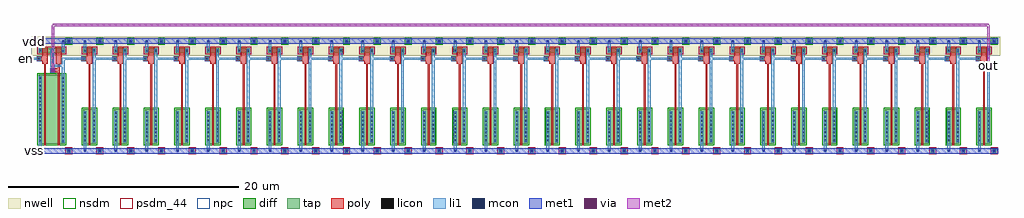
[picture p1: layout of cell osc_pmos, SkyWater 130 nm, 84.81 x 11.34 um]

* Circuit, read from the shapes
.subckt osc_pmos en out vdd vss
XM1 n1 en vss vss sky130_fd_pr__nfet_01v8 w=6 l=0.15
XM2 n2 out n1 vss sky130_fd_pr__nfet_01v8 w=6 l=0.15
XM3 n3 n2 vss vss sky130_fd_pr__nfet_01v8 w=3 l=0.15
XM4 n4 n3 vss vss sky130_fd_pr__nfet_01v8 w=3 l=0.15
XM5 n5 n4 vss vss sky130_fd_pr__nfet_01v8 w=3 l=0.15
XM6 n6 n5 vss vss sky130_fd_pr__nfet_01v8 w=3 l=0.15
XM7 n7 n6 vss vss sky130_fd_pr__nfet_01v8 w=3 l=0.15
XM8 n8 n7 vss vss sky130_fd_pr__nfet_01v8 w=3 l=0.15
XM9 n9 n8 vss vss sky130_fd_pr__nfet_01v8 w=3 l=0.15
XM10 n10 n9 vss vss sky130_fd_pr__nfet_01v8 w=3 l=0.15
XM11 n11 n10 vss vss sky130_fd_pr__nfet_01v8 w=3 l=0.15
XM12 n12 n11 vss vss sky130_fd_pr__nfet_01v8 w=3 l=0.15
XM13 n13 n12 vss vss sky130_fd_pr__nfet_01v8 w=3 l=0.15
XM14 n14 n13 vss vss sky130_fd_pr__nfet_01v8 w=3 l=0.15
XM15 n15 n14 vss vss sky130_fd_pr__nfet_01v8 w=3 l=0.15
XM16 n16 n15 vss vss sky130_fd_pr__nfet_01v8 w=3 l=0.15
XM17 n17 n16 vss vss sky130_fd_pr__nfet_01v8 w=3 l=0.15
XM18 n18 n17 vss vss sky130_fd_pr__nfet_01v8 w=3 l=0.15
XM19 n19 n18 vss vss sky130_fd_pr__nfet_01v8 w=3 l=0.15
XM20 n20 n19 vss vss sky130_fd_pr__nfet_01v8 w=3 l=0.15
XM21 n21 n20 vss vss sky130_fd_pr__nfet_01v8 w=3 l=0.15
XM22 n22 n21 vss vss sky130_fd_pr__nfet_01v8 w=3 l=0.15
XM23 n23 n22 vss vss sky130_fd_pr__nfet_01v8 w=3 l=0.15
XM24 n24 n23 vss vss sky130_fd_pr__nfet_01v8 w=3 l=0.15
XM25 n25 n24 vss vss sky130_fd_pr__nfet_01v8 w=3 l=0.15
XM26 n26 n25 vss vss sky130_fd_pr__nfet_01v8 w=3 l=0.15
XM27 n27 n26 vss vss sky130_fd_pr__nfet_01v8 w=3 l=0.15
XM28 n28 n27 vss vss sky130_fd_pr__nfet_01v8 w=3 l=0.15
XM29 n29 n28 vss vss sky130_fd_pr__nfet_01v8 w=3 l=0.15
XM30 n30 n29 vss vss sky130_fd_pr__nfet_01v8 w=3 l=0.15
XM31 n31 n30 vss vss sky130_fd_pr__nfet_01v8 w=3 l=0.15
XM32 out n31 vss vss sky130_fd_pr__nfet_01v8 w=3 l=0.15
XM33 n2 en vdd vdd sky130_fd_pr__pfet_01v8 w=0.42 l=0.5
XM34 vdd out n2 vdd sky130_fd_pr__pfet_01v8 w=0.42 l=0.5
XM35 n3 n2 vdd vdd sky130_fd_pr__pfet_01v8 w=0.42 l=0.5
XM36 n4 n3 vdd vdd sky130_fd_pr__pfet_01v8 w=0.42 l=0.5
XM37 n5 n4 vdd vdd sky130_fd_pr__pfet_01v8 w=0.42 l=0.5
XM38 n6 n5 vdd vdd sky130_fd_pr__pfet_01v8 w=0.42 l=0.5
XM39 n7 n6 vdd vdd sky130_fd_pr__pfet_01v8 w=0.42 l=0.5
XM40 n8 n7 vdd vdd sky130_fd_pr__pfet_01v8 w=0.42 l=0.5
XM41 n9 n8 vdd vdd sky130_fd_pr__pfet_01v8 w=0.42 l=0.5
XM42 n10 n9 vdd vdd sky130_fd_pr__pfet_01v8 w=0.42 l=0.5
XM43 n11 n10 vdd vdd sky130_fd_pr__pfet_01v8 w=0.42 l=0.5
XM44 n12 n11 vdd vdd sky130_fd_pr__pfet_01v8 w=0.42 l=0.5
XM45 n13 n12 vdd vdd sky130_fd_pr__pfet_01v8 w=0.42 l=0.5
XM46 n14 n13 vdd vdd sky130_fd_pr__pfet_01v8 w=0.42 l=0.5
XM47 n15 n14 vdd vdd sky130_fd_pr__pfet_01v8 w=0.42 l=0.5
XM48 n16 n15 vdd vdd sky130_fd_pr__pfet_01v8 w=0.42 l=0.5
XM49 n17 n16 vdd vdd sky130_fd_pr__pfet_01v8 w=0.42 l=0.5
XM50 n18 n17 vdd vdd sky130_fd_pr__pfet_01v8 w=0.42 l=0.5
XM51 n19 n18 vdd vdd sky130_fd_pr__pfet_01v8 w=0.42 l=0.5
XM52 n20 n19 vdd vdd sky130_fd_pr__pfet_01v8 w=0.42 l=0.5
XM53 n21 n20 vdd vdd sky130_fd_pr__pfet_01v8 w=0.42 l=0.5
XM54 n22 n21 vdd vdd sky130_fd_pr__pfet_01v8 w=0.42 l=0.5
XM55 n23 n22 vdd vdd sky130_fd_pr__pfet_01v8 w=0.42 l=0.5
XM56 n24 n23 vdd vdd sky130_fd_pr__pfet_01v8 w=0.42 l=0.5
XM57 n25 n24 vdd vdd sky130_fd_pr__pfet_01v8 w=0.42 l=0.5
XM58 n26 n25 vdd vdd sky130_fd_pr__pfet_01v8 w=0.42 l=0.5
XM59 n27 n26 vdd vdd sky130_fd_pr__pfet_01v8 w=0.42 l=0.5
XM60 n28 n27 vdd vdd sky130_fd_pr__pfet_01v8 w=0.42 l=0.5
XM61 n29 n28 vdd vdd sky130_fd_pr__pfet_01v8 w=0.42 l=0.5
XM62 n30 n29 vdd vdd sky130_fd_pr__pfet_01v8 w=0.42 l=0.5
XM63 n31 n30 vdd vdd sky130_fd_pr__pfet_01v8 w=0.42 l=0.5
XM64 out n31 vdd vdd sky130_fd_pr__pfet_01v8 w=0.42 l=0.5
.ends

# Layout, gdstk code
import gdstk
lib = gdstk.Library(unit=1e-6, precision=1e-09)
def R(c, l, rs):  # rectangles x0, y0, x1, y1
    for r in rs: c.add(gdstk.rectangle(r[:2], r[2:], *l))
def A(c, l, x, y, w, h, nx, ny, dx, dy):  # array of equal rectangles
    R(c, l, [(x+i*dx, y+j*dy, x+i*dx+w, y+j*dy+h) for i in range(nx) for j in range(ny)])
nwell = (64, 20)
diff = (65, 20)
tap = (65, 44)
poly = (66, 20)
licon = (66, 44)
li1 = (67, 20)
mcon = (67, 44)
met1 = (68, 20)
via = (68, 44)
met2 = (69, 20)
nsdm = (93, 44)
psdm_44 = (94, 44)
npc = (95, 20)

osc_pmos = lib.new_cell('osc_pmos')
R(osc_pmos, nwell, [(-0.15,8.25,84.03,9.92)])
A(osc_pmos, diff, 4.38, 0.6, 1.08, 3, 30, 1, 2.68, 0)
A(osc_pmos, diff, 4.38, 8.5, 1.08, 0.42, 30, 1, 2.68, 0)
R(osc_pmos, diff, [(0.5,0.6,2.78,6.6), (0.5,8.5,2.78,8.92)])
A(osc_pmos, tap, 2.96, -0.17, 0.34, 0.34, 31, 2, 2.68, 9.52)
A(osc_pmos, poly, 2.165, 0.47, 0.15, 7.08, 31, 1, 2.68, 0)
A(osc_pmos, poly, 1.99, 7.55, 0.5, 1.5, 31, 1, 2.68, 0)
A(osc_pmos, poly, 4.255, 7.835, 0.665, 0.33, 30, 1, 2.68, 0)
R(osc_pmos, poly, [(0.965,0.47,1.115,7.55), (1.575,6.835,2.24,7.165), (0.79,7.55,1.29,9.05), (0.375,7.835,1.04,8.165)])
A(osc_pmos, licon, 3.045, -0.085, 0.17, 0.17, 31, 2, 2.68, 9.52)
A(osc_pmos, licon, 0.56, 0.795, 0.17, 0.17, 1, 17, 0, 0.34)
A(osc_pmos, licon, 2.55, 0.795, 0.17, 0.17, 1, 17, 0, 0.34)
A(osc_pmos, licon, 4.44, 0.825, 0.17, 0.17, 1, 8, 0, 0.34)
A(osc_pmos, licon, 5.23, 0.825, 0.17, 0.17, 1, 8, 0, 0.34)
A(osc_pmos, licon, 7.12, 0.825, 0.17, 0.17, 1, 8, 0, 0.34)
A(osc_pmos, licon, 7.91, 0.825, 0.17, 0.17, 1, 8, 0, 0.34)
A(osc_pmos, licon, 9.8, 0.825, 0.17, 0.17, 1, 8, 0, 0.34)
A(osc_pmos, licon, 10.59, 0.825, 0.17, 0.17, 1, 8, 0, 0.34)
A(osc_pmos, licon, 12.48, 0.825, 0.17, 0.17, 1, 8, 0, 0.34)
A(osc_pmos, licon, 13.27, 0.825, 0.17, 0.17, 1, 8, 0, 0.34)
A(osc_pmos, licon, 15.16, 0.825, 0.17, 0.17, 1, 8, 0, 0.34)
A(osc_pmos, licon, 15.95, 0.825, 0.17, 0.17, 1, 8, 0, 0.34)
A(osc_pmos, licon, 17.84, 0.825, 0.17, 0.17, 1, 8, 0, 0.34)
A(osc_pmos, licon, 18.63, 0.825, 0.17, 0.17, 1, 8, 0, 0.34)
A(osc_pmos, licon, 20.52, 0.825, 0.17, 0.17, 1, 8, 0, 0.34)
A(osc_pmos, licon, 21.31, 0.825, 0.17, 0.17, 1, 8, 0, 0.34)
A(osc_pmos, licon, 23.2, 0.825, 0.17, 0.17, 1, 8, 0, 0.34)
A(osc_pmos, licon, 23.99, 0.825, 0.17, 0.17, 1, 8, 0, 0.34)
A(osc_pmos, licon, 25.88, 0.825, 0.17, 0.17, 1, 8, 0, 0.34)
A(osc_pmos, licon, 26.67, 0.825, 0.17, 0.17, 1, 8, 0, 0.34)
A(osc_pmos, licon, 28.56, 0.825, 0.17, 0.17, 1, 8, 0, 0.34)
A(osc_pmos, licon, 29.35, 0.825, 0.17, 0.17, 1, 8, 0, 0.34)
A(osc_pmos, licon, 31.24, 0.825, 0.17, 0.17, 1, 8, 0, 0.34)
A(osc_pmos, licon, 32.03, 0.825, 0.17, 0.17, 1, 8, 0, 0.34)
A(osc_pmos, licon, 33.92, 0.825, 0.17, 0.17, 1, 8, 0, 0.34)
A(osc_pmos, licon, 34.71, 0.825, 0.17, 0.17, 1, 8, 0, 0.34)
A(osc_pmos, licon, 36.6, 0.825, 0.17, 0.17, 1, 8, 0, 0.34)
A(osc_pmos, licon, 37.39, 0.825, 0.17, 0.17, 1, 8, 0, 0.34)
A(osc_pmos, licon, 39.28, 0.825, 0.17, 0.17, 1, 8, 0, 0.34)
A(osc_pmos, licon, 40.07, 0.825, 0.17, 0.17, 1, 8, 0, 0.34)
A(osc_pmos, licon, 41.96, 0.825, 0.17, 0.17, 1, 8, 0, 0.34)
A(osc_pmos, licon, 42.75, 0.825, 0.17, 0.17, 1, 8, 0, 0.34)
A(osc_pmos, licon, 44.64, 0.825, 0.17, 0.17, 1, 8, 0, 0.34)
A(osc_pmos, licon, 45.43, 0.825, 0.17, 0.17, 1, 8, 0, 0.34)
A(osc_pmos, licon, 47.32, 0.825, 0.17, 0.17, 1, 8, 0, 0.34)
A(osc_pmos, licon, 48.11, 0.825, 0.17, 0.17, 1, 8, 0, 0.34)
A(osc_pmos, licon, 50, 0.825, 0.17, 0.17, 1, 8, 0, 0.34)
A(osc_pmos, licon, 50.79, 0.825, 0.17, 0.17, 1, 8, 0, 0.34)
A(osc_pmos, licon, 52.68, 0.825, 0.17, 0.17, 1, 8, 0, 0.34)
A(osc_pmos, licon, 53.47, 0.825, 0.17, 0.17, 1, 8, 0, 0.34)
A(osc_pmos, licon, 55.36, 0.825, 0.17, 0.17, 1, 8, 0, 0.34)
A(osc_pmos, licon, 56.15, 0.825, 0.17, 0.17, 1, 8, 0, 0.34)
A(osc_pmos, licon, 58.04, 0.825, 0.17, 0.17, 1, 8, 0, 0.34)
A(osc_pmos, licon, 58.83, 0.825, 0.17, 0.17, 1, 8, 0, 0.34)
A(osc_pmos, licon, 60.72, 0.825, 0.17, 0.17, 1, 8, 0, 0.34)
A(osc_pmos, licon, 61.51, 0.825, 0.17, 0.17, 1, 8, 0, 0.34)
A(osc_pmos, licon, 63.4, 0.825, 0.17, 0.17, 1, 8, 0, 0.34)
A(osc_pmos, licon, 64.19, 0.825, 0.17, 0.17, 1, 8, 0, 0.34)
A(osc_pmos, licon, 66.08, 0.825, 0.17, 0.17, 1, 8, 0, 0.34)
A(osc_pmos, licon, 66.87, 0.825, 0.17, 0.17, 1, 8, 0, 0.34)
A(osc_pmos, licon, 68.76, 0.825, 0.17, 0.17, 1, 8, 0, 0.34)
A(osc_pmos, licon, 69.55, 0.825, 0.17, 0.17, 1, 8, 0, 0.34)
A(osc_pmos, licon, 71.44, 0.825, 0.17, 0.17, 1, 8, 0, 0.34)
A(osc_pmos, licon, 72.23, 0.825, 0.17, 0.17, 1, 8, 0, 0.34)
A(osc_pmos, licon, 74.12, 0.825, 0.17, 0.17, 1, 8, 0, 0.34)
A(osc_pmos, licon, 74.91, 0.825, 0.17, 0.17, 1, 8, 0, 0.34)
A(osc_pmos, licon, 76.8, 0.825, 0.17, 0.17, 1, 8, 0, 0.34)
A(osc_pmos, licon, 77.59, 0.825, 0.17, 0.17, 1, 8, 0, 0.34)
A(osc_pmos, licon, 79.48, 0.825, 0.17, 0.17, 1, 8, 0, 0.34)
A(osc_pmos, licon, 80.27, 0.825, 0.17, 0.17, 1, 8, 0, 0.34)
A(osc_pmos, licon, 82.16, 0.825, 0.17, 0.17, 1, 8, 0, 0.34)
A(osc_pmos, licon, 82.95, 0.825, 0.17, 0.17, 1, 8, 0, 0.34)
A(osc_pmos, licon, 4.335, 7.915, 0.17, 0.17, 30, 1, 2.68, 0)
A(osc_pmos, licon, 0.56, 8.625, 0.17, 0.17, 3, 1, 0.995, 0)
R(osc_pmos, licon, [(1.655,6.915,1.825,7.085), (0.455,7.915,0.625,8.085), (4.44,8.625,4.61,8.795), (5.23,8.625,5.4,8.795), (7.12,8.625,7.29,8.795), (7.91,8.625,8.08,8.795), (9.8,8.625,9.97,8.795), (10.59,8.625,10.76,8.795), (12.48,8.625,12.65,8.795), (13.27,8.625,13.44,8.795), (15.16,8.625,15.33,8.795), (15.95,8.625,16.12,8.795), (17.84,8.625,18.01,8.795), (18.63,8.625,18.8,8.795), (20.52,8.625,20.69,8.795), (21.31,8.625,21.48,8.795), (23.2,8.625,23.37,8.795), (23.99,8.625,24.16,8.795), (25.88,8.625,26.05,8.795), (26.67,8.625,26.84,8.795), (28.56,8.625,28.73,8.795), (29.35,8.625,29.52,8.795), (31.24,8.625,31.41,8.795), (32.03,8.625,32.2,8.795), (33.92,8.625,34.09,8.795), (34.71,8.625,34.88,8.795), (36.6,8.625,36.77,8.795), (37.39,8.625,37.56,8.795), (39.28,8.625,39.45,8.795), (40.07,8.625,40.24,8.795), (41.96,8.625,42.13,8.795), (42.75,8.625,42.92,8.795), (44.64,8.625,44.81,8.795), (45.43,8.625,45.6,8.795), (47.32,8.625,47.49,8.795), (48.11,8.625,48.28,8.795), (50,8.625,50.17,8.795), (50.79,8.625,50.96,8.795), (52.68,8.625,52.85,8.795), (53.47,8.625,53.64,8.795), (55.36,8.625,55.53,8.795), (56.15,8.625,56.32,8.795), (58.04,8.625,58.21,8.795), (58.83,8.625,59,8.795), (60.72,8.625,60.89,8.795), (61.51,8.625,61.68,8.795), (63.4,8.625,63.57,8.795), (64.19,8.625,64.36,8.795), (66.08,8.625,66.25,8.795), (66.87,8.625,67.04,8.795), (68.76,8.625,68.93,8.795), (69.55,8.625,69.72,8.795), (71.44,8.625,71.61,8.795), (72.23,8.625,72.4,8.795), (74.12,8.625,74.29,8.795), (74.91,8.625,75.08,8.795), (76.8,8.625,76.97,8.795), (77.59,8.625,77.76,8.795), (79.48,8.625,79.65,8.795), (80.27,8.625,80.44,8.795), (82.16,8.625,82.33,8.795), (82.95,8.625,83.12,8.795)])
A(osc_pmos, li1, 3.005, -0.125, 0.25, 0.25, 31, 2, 2.68, 9.52)
A(osc_pmos, li1, 4.4, 0, 0.25, 3.455, 30, 1, 2.68, 0)
A(osc_pmos, li1, 5.19, 0.745, 0.25, 8.13, 30, 1, 2.68, 0)
A(osc_pmos, li1, 4.295, 7.875, 0.25, 0.25, 30, 1, 2.68, 0)
A(osc_pmos, li1, 2.635, 7.915, 1.785, 0.17, 30, 1, 2.68, 0)
A(osc_pmos, li1, 4.4, 8.545, 0.25, 0.975, 30, 1, 2.68, 0)
R(osc_pmos, li1, [(0.52,0,0.77,6.485), (2.51,0.715,2.76,8.085), (1.615,6.875,1.865,7.125), (1.615,6.875,1.865,7.125), (82.91,7.275,83.16,7.525), (1.515,7.315,1.765,8.875), (1.64,7.315,2.635,7.485), (-0.725,7.875,-0.475,8.125), (0.415,7.875,0.665,8.125), (-0.6,7.915,0.54,8.085), (0.52,8.545,0.77,9.52), (2.51,8.545,2.76,9.52)])
R(osc_pmos, mcon, [(0.56,-0.085,0.73,0.085), (3.045,-0.085,3.215,0.085), (4.44,-0.085,4.61,0.085), (5.725,-0.085,5.895,0.085), (7.12,-0.085,7.29,0.085), (8.405,-0.085,8.575,0.085), (9.8,-0.085,9.97,0.085), (11.085,-0.085,11.255,0.085), (12.48,-0.085,12.65,0.085), (13.765,-0.085,13.935,0.085), (15.16,-0.085,15.33,0.085), (16.445,-0.085,16.615,0.085), (17.84,-0.085,18.01,0.085), (19.125,-0.085,19.295,0.085), (20.52,-0.085,20.69,0.085), (21.805,-0.085,21.975,0.085), (23.2,-0.085,23.37,0.085), (24.485,-0.085,24.655,0.085), (25.88,-0.085,26.05,0.085), (27.165,-0.085,27.335,0.085), (28.56,-0.085,28.73,0.085), (29.845,-0.085,30.015,0.085), (31.24,-0.085,31.41,0.085), (32.525,-0.085,32.695,0.085), (33.92,-0.085,34.09,0.085), (35.205,-0.085,35.375,0.085), (36.6,-0.085,36.77,0.085), (37.885,-0.085,38.055,0.085), (39.28,-0.085,39.45,0.085), (40.565,-0.085,40.735,0.085), (41.96,-0.085,42.13,0.085), (43.245,-0.085,43.415,0.085), (44.64,-0.085,44.81,0.085), (45.925,-0.085,46.095,0.085), (47.32,-0.085,47.49,0.085), (48.605,-0.085,48.775,0.085), (50,-0.085,50.17,0.085), (51.285,-0.085,51.455,0.085), (52.68,-0.085,52.85,0.085), (53.965,-0.085,54.135,0.085), (55.36,-0.085,55.53,0.085), (56.645,-0.085,56.815,0.085), (58.04,-0.085,58.21,0.085), (59.325,-0.085,59.495,0.085), (60.72,-0.085,60.89,0.085), (62.005,-0.085,62.175,0.085), (63.4,-0.085,63.57,0.085), (64.685,-0.085,64.855,0.085), (66.08,-0.085,66.25,0.085), (67.365,-0.085,67.535,0.085), (68.76,-0.085,68.93,0.085), (70.045,-0.085,70.215,0.085), (71.44,-0.085,71.61,0.085), (72.725,-0.085,72.895,0.085), (74.12,-0.085,74.29,0.085), (75.405,-0.085,75.575,0.085), (76.8,-0.085,76.97,0.085), (78.085,-0.085,78.255,0.085), (79.48,-0.085,79.65,0.085), (80.765,-0.085,80.935,0.085), (82.16,-0.085,82.33,0.085), (83.445,-0.085,83.615,0.085), (1.655,6.915,1.825,7.085), (82.95,7.315,83.12,7.485), (-0.685,7.915,-0.515,8.085), (0.56,9.435,0.73,9.605), (2.55,9.435,2.72,9.605), (3.045,9.435,3.215,9.605), (4.44,9.435,4.61,9.605), (5.725,9.435,5.895,9.605), (7.12,9.435,7.29,9.605), (8.405,9.435,8.575,9.605), (9.8,9.435,9.97,9.605), (11.085,9.435,11.255,9.605), (12.48,9.435,12.65,9.605), (13.765,9.435,13.935,9.605), (15.16,9.435,15.33,9.605), (16.445,9.435,16.615,9.605), (17.84,9.435,18.01,9.605), (19.125,9.435,19.295,9.605), (20.52,9.435,20.69,9.605), (21.805,9.435,21.975,9.605), (23.2,9.435,23.37,9.605), (24.485,9.435,24.655,9.605), (25.88,9.435,26.05,9.605), (27.165,9.435,27.335,9.605), (28.56,9.435,28.73,9.605), (29.845,9.435,30.015,9.605), (31.24,9.435,31.41,9.605), (32.525,9.435,32.695,9.605), (33.92,9.435,34.09,9.605), (35.205,9.435,35.375,9.605), (36.6,9.435,36.77,9.605), (37.885,9.435,38.055,9.605), (39.28,9.435,39.45,9.605), (40.565,9.435,40.735,9.605), (41.96,9.435,42.13,9.605), (43.245,9.435,43.415,9.605), (44.64,9.435,44.81,9.605), (45.925,9.435,46.095,9.605), (47.32,9.435,47.49,9.605), (48.605,9.435,48.775,9.605), (50,9.435,50.17,9.605), (51.285,9.435,51.455,9.605), (52.68,9.435,52.85,9.605), (53.965,9.435,54.135,9.605), (55.36,9.435,55.53,9.605), (56.645,9.435,56.815,9.605), (58.04,9.435,58.21,9.605), (59.325,9.435,59.495,9.605), (60.72,9.435,60.89,9.605), (62.005,9.435,62.175,9.605), (63.4,9.435,63.57,9.605), (64.685,9.435,64.855,9.605), (66.08,9.435,66.25,9.605), (67.365,9.435,67.535,9.605), (68.76,9.435,68.93,9.605), (70.045,9.435,70.215,9.605), (71.44,9.435,71.61,9.605), (72.725,9.435,72.895,9.605), (74.12,9.435,74.29,9.605), (75.405,9.435,75.575,9.605), (76.8,9.435,76.97,9.605), (78.085,9.435,78.255,9.605), (79.48,9.435,79.65,9.605), (80.765,9.435,80.935,9.605), (82.16,9.435,82.33,9.605), (83.445,9.435,83.615,9.605)])
R(osc_pmos, met1, [(0,-0.24,83.88,0.24), (1.565,6.825,1.915,7.175), (1.565,6.825,1.915,7.175), (82.86,7.225,83.21,7.575), (82.86,7.225,83.21,7.575), (-0.775,7.825,-0.425,8.175), (0,9.28,83.88,9.76)])
R(osc_pmos, via, [(1.665,6.925,1.815,7.075), (82.96,7.325,83.11,7.475)])
R(osc_pmos, met2, [(1.565,6.825,1.915,7.175), (1.625,7,1.855,10.92), (82.86,7.225,83.21,7.575), (82.92,7.4,83.15,10.92), (1.74,10.805,83.035,11.035)])
A(osc_pmos, nsdm, 4.255, 0.475, 1.33, 3.25, 30, 1, 2.68, 0)
A(osc_pmos, nsdm, 2.83, 9.22, 0.6, 0.6, 31, 1, 2.68, 0)
R(osc_pmos, nsdm, [(0.375,0.475,2.905,6.725)])
A(osc_pmos, psdm_44, 2.83, -0.3, 0.6, 0.6, 31, 1, 2.68, 0)
A(osc_pmos, psdm_44, 4.255, 8.375, 1.33, 0.67, 30, 1, 2.68, 0)
R(osc_pmos, psdm_44, [(0.375,8.375,2.905,9.045)])
A(osc_pmos, npc, 4.205, 7.785, 0.43, 0.43, 30, 1, 2.68, 0)
R(osc_pmos, npc, [(1.525,6.785,1.955,7.215), (0.325,7.785,0.755,8.215)])
osc_pmos.add(gdstk.Label('vss', (0.1,0), layer=68, texttype=16))
osc_pmos.add(gdstk.Label('vdd', (0.1,9.52), layer=68, texttype=16))
osc_pmos.add(gdstk.Label('en', (-0.6,8), layer=68, texttype=16))
osc_pmos.add(gdstk.Label('out', (83.035,7.4), layer=68, texttype=16))
osc_pmos.add(gdstk.Label('vss', (0.1,0), layer=68, texttype=5))
osc_pmos.add(gdstk.Label('vdd', (0.1,9.52), layer=68, texttype=5))
osc_pmos.add(gdstk.Label('en', (-0.6,8), layer=68, texttype=5))
osc_pmos.add(gdstk.Label('out', (83.035,7.4), layer=68, texttype=5))

lib.write_gds('osc_pmos.gds')
